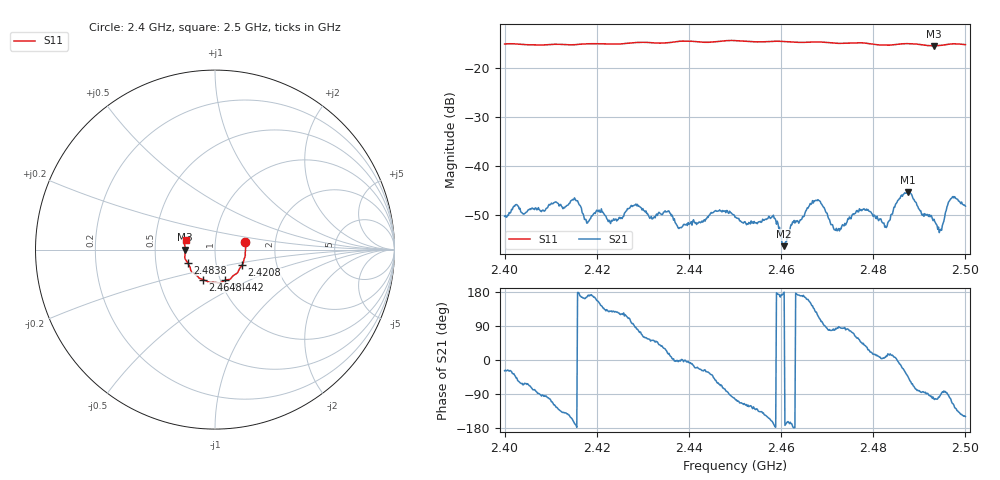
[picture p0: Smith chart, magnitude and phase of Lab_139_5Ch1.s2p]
# Hz S RI R 50
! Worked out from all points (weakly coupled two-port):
!   601 points, 2.4 GHz to 2.5 GHz, reference 50 ohm
!   highest |S21| = -45.34 dB at 2.4875 GHz (marker M1); lowest = -56.3 dB at 2.4607 GHz (marker M2)
!   lowest |S11| = -15.6 dB at 2.4932 GHz (marker M3), VSWR 1.40, Z = 35.8 - j0.0849 ohm
!   |S11| at or under -10 dB: start of sweep to end of sweep
!   S12 and S22 are empty: the file has one direction only
!   S11 on the Smith chart (normalised r, x): 2.4 GHz: 1.40, +0.12; 2.4208 GHz: 1.33, -0.24; 2.4442 GHz: 1.05, -0.37; 2.4648 GHz: 0.83, -0.29; 2.4838 GHz: 0.73, -0.11; 2.5 GHz: 0.72, +0.08
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2.4e9  0.1681 0.041  0.00271 -0.00147  0 0  0 0
2.414833e9  0.161 -0.0552  -0.00428 -0.00159  0 0  0 0
2.416667e9  0.1588 -0.0681  -0.00361 0.000923  0 0  0 0
2.417833e9  0.1568 -0.0754  -0.00254 0.000635  0 0  0 0
2.420833e9  0.1506 -0.0872  -0.00274 0.00198  0 0  0 0
2.433333e9  0.108 -0.14  0.00239 0.00226  0 0  0 0
2.438e9  0.0879 -0.1623  0.00235 -5.09e-05  0 0  0 0
2.444167e9  0.0566 -0.1712  0.00255 -0.00158  0 0  0 0
2.45e9  0.0246 -0.1863  -0.000687 -0.00293  0 0  0 0
2.458333e9  -0.0275 -0.183  -0.00309 -0.000659  0 0  0 0
2.460667e9  -0.0388 -0.1792  -0.00153 2.94e-05  0 0  0 0
2.464833e9  -0.0684 -0.1667  -0.003 0.000493  0 0  0 0
2.466667e9  -0.0802 -0.1627  -0.00334 0.00248  0 0  0 0
2.471833e9  -0.1009 -0.1448  0.000245 0.0022  0 0  0 0
2.4775e9  -0.1337 -0.1176  0.00244 0.00252  0 0  0 0
2.483333e9  -0.1504 -0.0761  0.00264 0.000685  0 0  0 0
2.483833e9  -0.1531 -0.072  0.00309 0.000749  0 0  0 0
2.4875e9  -0.1674 -0.0501  0.00396 -0.00368  0 0  0 0
2.493167e9  -0.1658 -0.00115  -0.000649 -0.0028  0 0  0 0
2.494833e9  -0.1672 0.0161  0.000113 -0.00221  0 0  0 0
2.497167e9  -0.1705 0.0336  -0.002 -0.00441  0 0  0 0
2.5e9  -0.1624 0.0528  -0.00336 -0.002  0 0  0 0
